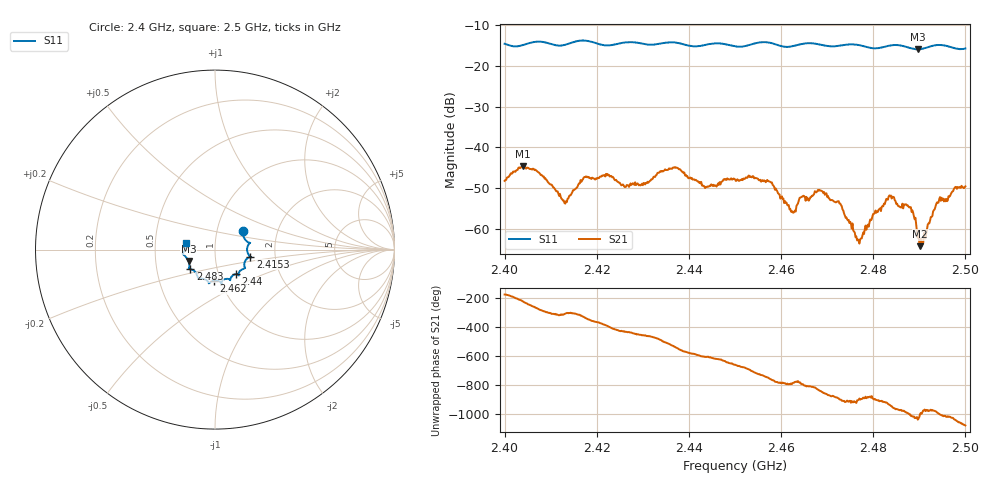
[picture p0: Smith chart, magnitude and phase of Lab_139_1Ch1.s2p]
# Hz S RI R 50
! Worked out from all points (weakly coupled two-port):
!   601 points, 2.4 GHz to 2.5 GHz, reference 50 ohm
!   highest |S21| = -44.65 dB at 2.404 GHz (marker M1); lowest = -64.3 dB at 2.4902 GHz (marker M2)
!   lowest |S11| = -15.9 dB at 2.4897 GHz (marker M3), VSWR 1.38, Z = 36.9 - j4.83 ohm
!   |S11| at or under -10 dB: start of sweep to end of sweep
!   S12 and S22 are empty: the file has one direction only
!   S11 on the Smith chart (normalised r, x): 2.4 GHz: 1.33, +0.29; 2.4153 GHz: 1.48, -0.12; 2.44 GHz: 1.21, -0.34; 2.462 GHz: 0.93, -0.33; 2.483 GHz: 0.74, -0.17; 2.5 GHz: 0.72, +0.06
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2.4e9  0.1553 0.1063  -0.00388 -0.000209  0 0  0 0
2.404e9  0.1751 0.0476  -0.00417 0.00411  0 0  0 0
2.413e9  0.1811 -0.0149  0.00134 0.00158  0 0  0 0
2.415333e9  0.1962 -0.0389  0.00191 0.00244  0 0  0 0
2.416667e9  0.2017 -0.0428  0.003 0.0023  0 0  0 0
2.4295e9  0.1577 -0.1073  -0.000241 -0.0034  0 0  0 0
2.433333e9  0.1312 -0.1336  -0.00254 -0.00417  0 0  0 0
2.44e9  0.1142 -0.1368  -0.00325 0.0026  0 0  0 0
2.443833e9  0.0863 -0.1622  -0.00134 0.00296  0 0  0 0
2.45e9  0.0648 -0.1628  0.00201 0.00351  0 0  0 0
2.4575e9  0.0382 -0.1901  0.00305 -0.00226  0 0  0 0
2.462e9  -0.00528 -0.1734  0.000457 -0.00169  0 0  0 0
2.466667e9  -0.0345 -0.1876  -0.000124 -0.00254  0 0  0 0
2.472667e9  -0.0768 -0.1603  -0.00205 -4.45e-05  0 0  0 0
2.477e9  -0.0961 -0.1529  -0.000652 -8.06e-05  0 0  0 0
2.483e9  -0.1374 -0.1094  -0.00215 0.000899  0 0  0 0
2.483333e9  -0.1399 -0.1092  -0.00208 0.00134  0 0  0 0
2.488e9  -0.1424 -0.0864  0.000378 0.00181  0 0  0 0
2.489667e9  -0.1473 -0.0637  0.000579 0.000515  0 0  0 0
2.490167e9  -0.151 -0.0567  9.9e-05 0.000603  0 0  0 0
2.494e9  -0.1803 -0.023  7.76e-05 0.00209  0 0  0 0
2.5e9  -0.1598 0.039  0.00332 9.09e-05  0 0  0 0
